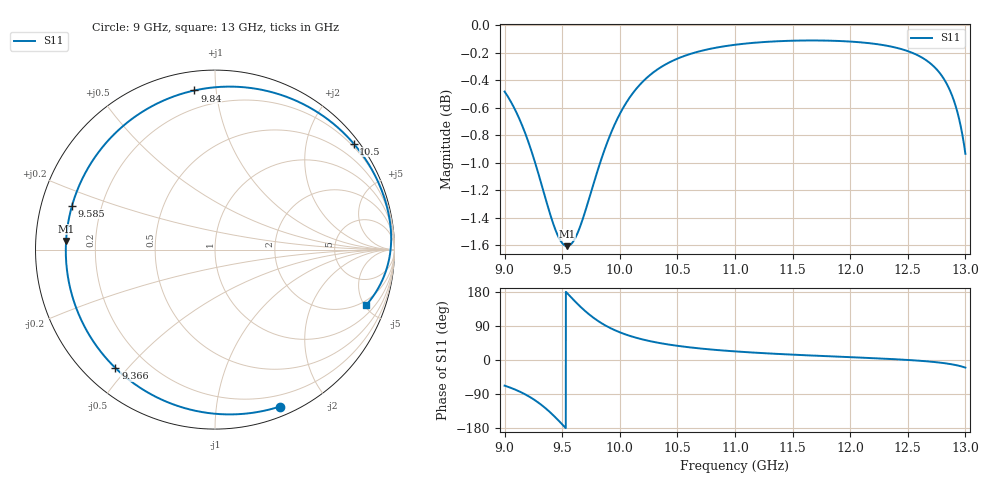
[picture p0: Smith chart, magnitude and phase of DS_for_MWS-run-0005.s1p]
! TOUCHSTONE file generated by CST DESIGN STUDIO
! Date and time: Tue Feb  4 18:13:24 2025
! Project name: C:\Work\MatlabApps\UnitCellOptimizationMatlab\CST\unitcell.cst
! Tree item: Tasks\Sweep1\SPara1\S-Parameters
! Header version: 2024
! Port assignment regex: !\s*Touchstone port\s*([0-9]+)\s*=\s*(CST MWS port|CST DES external port|CST DES block port)\s*(.+)\s* \(\"(.*)\"\)(\s*mode\s*([0-9]+))?.*
! Touchstone port assignment:
! Touchstone port 1 = CST DES external port 1 ("")
# GHz S MA R 50
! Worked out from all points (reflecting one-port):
!   4001 points, 9 GHz to 13 GHz, reference 50 ohm
!   lowest |S11| = -1.6 dB at 9.542 GHz (marker M1), VSWR 10.85, Z = 4.61 + j1.44 ohm
!   phase of S11 starts at -68 deg and turns -312 deg over the sweep
!   S11 on the Smith chart (normalised r, x): 9 GHz: 0.09, -1.49; 9.366 GHz: 0.09, -0.46; 9.585 GHz: 0.09, +0.15; 9.84 GHz: 0.10, +0.87; 10.5 GHz: 0.14, +2.95; 13 GHz: 1.62, -5.16
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9  0.946 -67.7
9.102  0.9297 -79.4
9.215  0.9047 -96.9
9.294  0.883 -112.7
9.366  0.8619 -130.1
9.439  0.8431 -150.8
9.5  0.8333 -169.8
9.542  0.8312 176.7
9.585  0.8333 162.9
9.651  0.8439 142.7
9.711  0.8588 126.1
9.773  0.876 111.1
9.84  0.8941 97.4
9.912  0.9113 85.1
10  0.9284 73.1
10.103  0.9435 62.2
10.217  0.9555 52.8
10.347  0.9649 44.7
10.5  0.9724 37.4
10.501  0.9725 37.4
10.722  0.9791 29.7
11  0.9838 22.7
11.5  0.9871 14.1
12  0.9864 7.5
12.5  0.9786 0.1
12.795  0.9586 -7.5
12.908  0.9368 -12.8
13  0.898 -20.1
